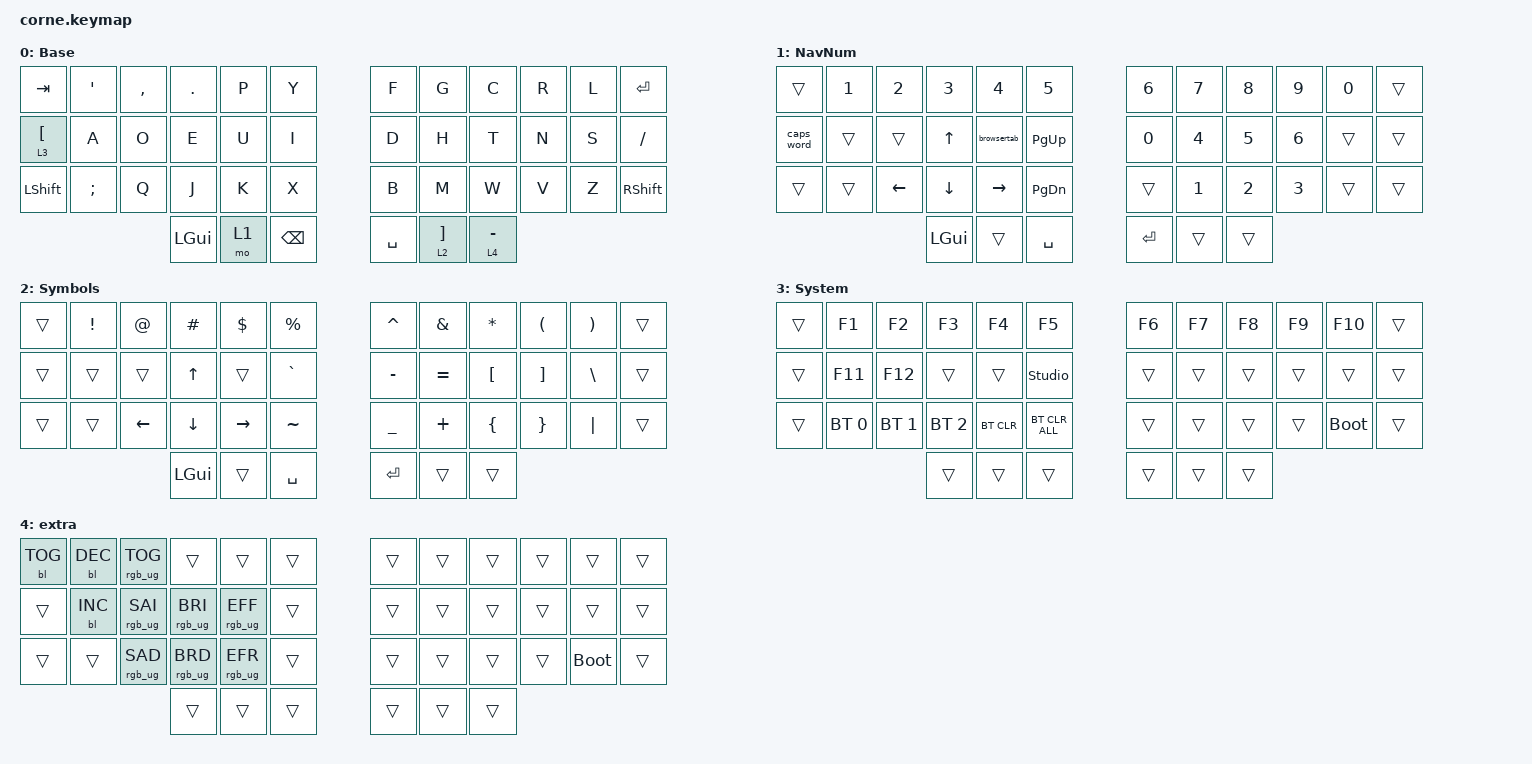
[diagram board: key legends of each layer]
#include <behaviors.dtsi>
#include <dt-bindings/zmk/backlight.h>
#include <dt-bindings/zmk/bt.h>
#include <dt-bindings/zmk/keys.h>
#include <dt-bindings/zmk/rgb.h>

#define DEF 0
#define NAV 1
#define SYM 2
#define ADJ 3
#define EXTRA 4

/ {
    behaviors {
        hm: homerow_mods {
            compatible = "zmk,behavior-hold-tap";
            label = "HOMEROW_MODS";
            #binding-cells = <2>;
            tapping-term-ms = <200>;
            quick_tap_ms = <0>;
            flavor = "tap-preferred";
            bindings = <&kp>, <&kp>;

            quick-tap-ms = <180>;
            global-quick-tap;
        };

        para: para {
            compatible = "zmk,behavior-tap-dance";
            label = "PARA";
            #binding-cells = <0>;
            bindings = <&kp LEFT_PARENTHESIS>, <&kp RIGHT_PARENTHESIS>;
        };

        caps: caps {
            compatible = "zmk,behavior-caps-word";
            label = "CAPS";
            #binding-cells = <0>;
            continue-list = <MINUS BACKSPACE>;
        };

        paraless: paraless {
            compatible = "zmk,behavior-mod-morph";
            label = "PARALESS";
            bindings = <&kp LEFT_PARENTHESIS>, <&kp LESS_THAN>;

            #binding-cells = <0>;
            mods = <(MOD_LSFT)>;
        };

        paragreat: paragreat {
            compatible = "zmk,behavior-mod-morph";
            label = "PARAGREAT";
            bindings = <&kp RIGHT_PARENTHESIS>, <&kp GREATER_THAN>;

            #binding-cells = <0>;
            mods = <(MOD_LSFT)>;
        };
    };

    macros {
        browsertab: browsertab {
            compatible = "zmk,behavior-macro";
            #binding-cells = <0>;
            bindings =
                <&macro_press>,
                <&kp LCTRL>,
                <&macro_tap>,
                <&kp TAB>,
                <&macro_release>,
                <&kp LCTRL>;
        };
    };

    combos {
        compatible = "zmk,combos";

        escape {
            bindings = <&kp ESCAPE>;
            key-positions = <13 29>;
        };

        delete {
            bindings = <&kp DELETE>;
            key-positions = <15 21>;
        };

        perc {
            bindings = <&kp PERCENT>;
            key-positions = <5 17>;
        };

        equal {
            bindings = <&kp EQUAL>;
            key-positions = <28 16>;
        };

        dollar {
            bindings = <&kp DOLLAR>;
            key-positions = <4 16>;
        };

        pound {
            bindings = <&kp POUND>;
            key-positions = <3 15>;
        };

        at {
            bindings = <&kp AT>;
            key-positions = <2 14>;
        };

        backslash {
            bindings = <&kp BACKSLASH>;
            key-positions = <26 14>;
        };

        copy {
            bindings = <&kp K_COPY>;
            key-positions = <28 27>;
        };

        paste {
            bindings = <&kp K_PASTE>;
            key-positions = <26 27>;
        };

        star {
            bindings = <&kp STAR>;
            key-positions = <8 20>;
        };

        slash {
            bindings = <&kp SLASH>;
            key-positions = <32 20>;
        };

        plus {
            bindings = <&kp PLUS>;
            key-positions = <7 19>;
        };

        minus {
            bindings = <&kp KP_MINUS>;
            key-positions = <31 19>;
        };

        underscore {
            bindings = <&kp UNDER>;
            key-positions = <30 18>;
        };

        leftbrack {
            bindings = <&kp LEFT_BRACKET>;
            key-positions = <31 32>;
        };

        rightbrack {
            bindings = <&kp RIGHT_BRACKET>;
            key-positions = <33 32>;
        };

        para-less {
            bindings = <&paraless>;
            key-positions = <20 19>;
        };

        para-great {
            bindings = <&paragreat>;
            key-positions = <20 21>;
        };
    };

    //

    keymap {
        compatible = "zmk,keymap";

        DEF {
            display-name = "Base";

            // -----------------------------------------------------------------------------------------
            // |  Q  |  W  |  E  |  R  |  T  |   |  Y  |  U   |  I  |  O  |  P  |
            // |  A  |  S  |  D  |  F  |  G  |   |  H  |  J   |  K  |  L  |  ;  |
            // |  Z  |  X  |  C  |  V  |  B  |   |  N  |  M   |  ,  |  .  |  /  |
            // | GUI | CTRL | SHFT | LWR | SPC |   | ENT | RSE  | BKSP | ALT | ESC |

            bindings = <
&kp TAB             &kp APOSTROPHE  &kp COMMA  &kp PERIOD  &kp P  &kp Y            &kp F      &kp G                &kp C        &kp R  &kp L  &kp ENTER
&lt 3 LEFT_BRACKET  &kp A           &kp O      &kp E       &kp U  &kp I            &kp D      &kp H                &kp T        &kp N  &kp S  &kp SLASH
&kp LEFT_SHIFT      &kp SEMICOLON   &kp Q      &kp J       &kp K  &kp X            &kp B      &kp M                &kp W        &kp V  &kp Z  &kp RSHFT
                                               &kp LGUI    &mo 1  &kp BACKSPACE    &kp SPACE  &lt 2 RIGHT_BRACKET  &lt 4 MINUS
            >;
        };

        NAV {
            display-name = "NavNum";

            // -----------------------------------------------------------------------------------------
            // |  TAB |  1  |  2  |  3  |  4  |  5  |   |  6  |  7  |  8  |  9  |  0  | BKSP |
            // | BTCLR| BT1 | BT2 | BT3 | BT4 | BT5 |   | LFT | DWN |  UP | RGT |     |      |
            // | SHFT |     |     |     |     |     |   |     |     |     |     |     |      |
            // | GUI | CTRL | SHFT | LWR | SPC |   | ENT | RSE  | BKSP | ALT | ESC |

            bindings = <
&trans      &kp N1  &kp N2    &kp N3        &kp N4           &kp N5           &kp N6   &kp N7  &kp N8  &kp N9  &kp N0  &trans
&caps_word  &trans  &trans    &kp UP_ARROW  &browsertab      &kp PAGE_UP      &kp N0   &kp N4  &kp N5  &kp N6  &trans  &trans
&trans      &trans  &kp LEFT  &kp DOWN      &kp RIGHT_ARROW  &kp PAGE_DOWN    &trans   &kp N1  &kp N2  &kp N3  &trans  &trans
                              &kp LGUI      &trans           &kp SPACE        &kp RET  &trans  &trans
            >;
        };

        SYM {
            display-name = "Symbols";

            // -----------------------------------------------------------------------------------------
            // |  TAB |  !  |  @  |  #  |  $  |  %  |   |  ^  |  &  |  *  |  (  |  )  | BKSP |
            // | CTRL |     |     |     |     |     |   |  -  |  =  |  [  |  ]  |  \  |  `   |
            // | SHFT |     |     |     |     |     |   |  _  |  +  |  {  |  }  | "|" |  ~   |
            //                    | GUI |     | SPC |   | ENT |     | ALT |

            bindings = <
&trans  &kp EXCL  &kp AT          &kp HASH        &kp DLLR         &kp PRCNT    &kp CARET  &kp AMPS   &kp ASTRK  &kp LEFT_PARENTHESIS  &kp RPAR  &trans
&trans  &trans    &trans          &kp UP_ARROW    &trans           &kp GRAVE    &kp MINUS  &kp EQUAL  &kp LBKT   &kp RBKT              &kp BSLH  &trans
&trans  &trans    &kp LEFT_ARROW  &kp DOWN_ARROW  &kp RIGHT_ARROW  &kp TILDE    &kp UNDER  &kp PLUS   &kp LBRC   &kp RBRC              &kp PIPE  &trans
                                  &kp LGUI        &trans           &kp SPACE    &kp RET    &trans     &trans
            >;
        };

        ADJ {
            display-name = "System";
            bindings = <
&trans  &kp F1        &kp F2        &kp F3        &kp F4      &kp F5            &kp F6  &kp F7  &kp F8  &kp F9  &kp F10      &trans
&trans  &kp F11       &kp F12       &trans        &trans      &studio_unlock    &trans  &trans  &trans  &trans  &trans       &trans
&trans  &bt BT_SEL 0  &bt BT_SEL 1  &bt BT_SEL 2  &bt BT_CLR  &bt BT_CLR_ALL    &trans  &trans  &trans  &trans  &bootloader  &trans
                                    &trans        &trans      &trans            &trans  &trans  &trans
            >;
        };

        EXTRA {
            display-name = "extra";
            bindings = <
&bl BL_TOG  &bl BL_DEC  &rgb_ug RGB_TOG  &trans           &trans           &trans    &trans  &trans  &trans  &trans  &trans       &trans
&trans      &bl BL_INC  &rgb_ug RGB_SAI  &rgb_ug RGB_BRI  &rgb_ug RGB_EFF  &trans    &trans  &trans  &trans  &trans  &trans       &trans
&trans      &trans      &rgb_ug RGB_SAD  &rgb_ug RGB_BRD  &rgb_ug RGB_EFR  &trans    &trans  &trans  &trans  &trans  &bootloader  &trans
                                         &trans           &trans           &trans    &trans  &trans  &trans
            >;
        };
    };

    conditional_layers {
        compatible = "zmk,conditional-layers";

        l3 {
            if-layers = <1 2>;
            then-layer = <3>;
        };
    };
};
